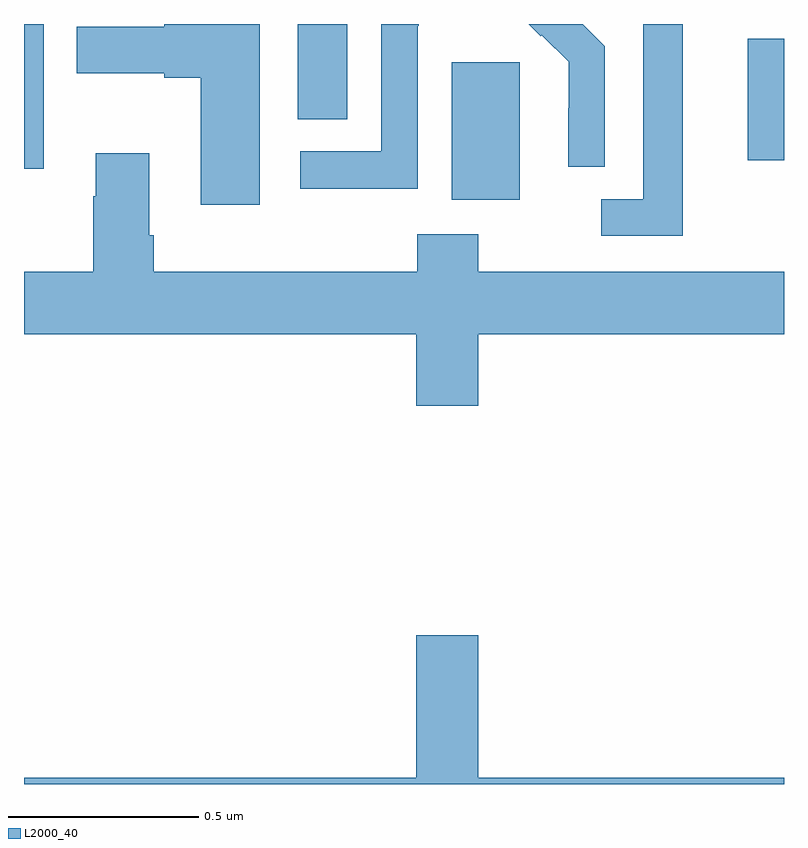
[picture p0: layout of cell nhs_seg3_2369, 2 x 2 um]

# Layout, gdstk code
import gdstk
lib = gdstk.Library(unit=1e-6, precision=1e-09)
def R(c, l, rs):  # rectangles x0, y0, x1, y1
    for r in rs: c.add(gdstk.rectangle(r[:2], r[2:], *l))
def P(c, l, *ps):  # polygons
    for p in ps: c.add(gdstk.Polygon(p, *l))
L2000_40 = (2000, 40)

nhs_seg3_2369 = lib.new_cell('nhs_seg3_2369')
R(nhs_seg3_2369, L2000_40, [(141.125,699.938,141.304,700.299), (140,700.019,140.052,700.4), (141.905,700.041,142,700.361), (140.72,700.15,140.851,700.4)])
P(nhs_seg3_2369, L2000_40, [(141.036,700.396),(141.039,700.396),(141.039,700.4),(140.94,700.4),(140.94,700.065),(140.727,700.065),(140.727,699.967),(141.036,699.967)],
  [(141.528,700.342),(141.47,700.4),(141.328,700.4),(141.36,700.368),(141.363,700.371),(141.434,700.301),(141.434,700.178),(141.432,700.178),(141.432,700.024),(141.528,700.024)],
  [(141.733,700.4),(141.629,700.4),(141.629,699.939),(141.519,699.939),(141.519,699.843),(141.733,699.843)],
  [(140.62,700.4),(140.369,700.4),(140.369,700.393),(140.139,700.393),(140.139,700.271),(140.369,700.271),(140.369,700.259),(140.465,700.259),(140.465,699.924),(140.62,699.924)],
  [(141.196,699.584),(142,699.584),(142,699.748),(141.195,699.748),(141.195,699.847),(141.035,699.847),(141.035,699.748),(140.342,699.748),(140.342,699.844),(140.329,699.844),(140.329,700.06),(140.189,700.06),(140.189,699.947),(140.182,699.947),(140.182,699.748),(140,699.748),(140,699.584),(141.032,699.584),(141.032,699.396),(141.196,699.396)],
  [(142,698.416),(141.196,698.416),(141.196,698.791),(141.032,698.791),(141.032,698.416),(140,698.416),(140,698.4),(142,698.4)])

lib.write_gds('nhs_seg3_2369.gds')
